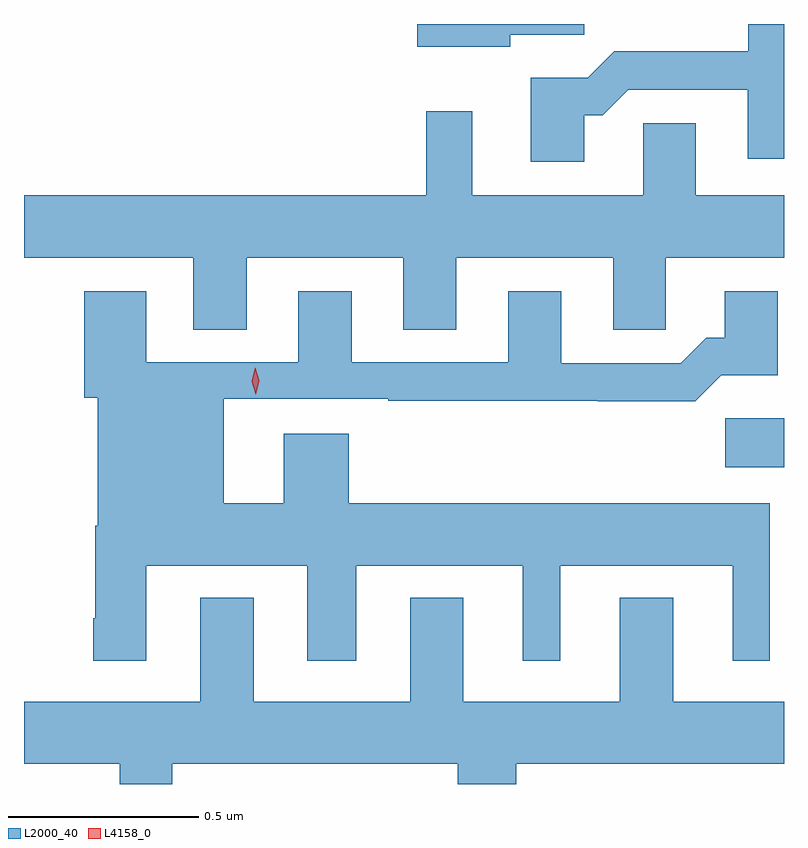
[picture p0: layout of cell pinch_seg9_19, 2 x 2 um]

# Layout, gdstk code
import gdstk
lib = gdstk.Library(unit=1e-6, precision=1e-09)
def R(c, l, rs):  # rectangles x0, y0, x1, y1
    for r in rs: c.add(gdstk.rectangle(r[:2], r[2:], *l))
def P(c, l, *ps):  # polygons
    for p in ps: c.add(gdstk.Polygon(p, *l))
L2000_40 = (2000, 40)
L4158_0 = (4158, 0)

pinch_seg9_19 = lib.new_cell('pinch_seg9_19')
R(pinch_seg9_19, L2000_40, [(1108.554,1213.184,1108.709,1213.313)])
P(pinch_seg9_19, L2000_40, [(1108.183,1214.111),(1108.232,1214.111),(1108.299,1214.178),(1108.613,1214.178),(1108.613,1213.997),(1108.709,1213.997),(1108.709,1214.351),(1108.615,1214.351),(1108.615,1214.279),(1108.262,1214.279),(1108.192,1214.209),(1108.043,1214.209),(1108.043,1213.989),(1108.183,1213.989)],
  [(1107.988,1214.323),(1108.183,1214.323),(1108.183,1214.351),(1107.744,1214.351),(1107.744,1214.291),(1107.988,1214.291)],
  [(1107.295,1213.736),(1107.707,1213.736),(1107.707,1213.546),(1107.847,1213.546),(1107.847,1213.736),(1108.259,1213.736),(1108.259,1213.546),(1108.398,1213.546),(1108.398,1213.736),(1108.709,1213.736),(1108.709,1213.9),(1108.477,1213.9),(1108.477,1214.09),(1108.338,1214.09),(1108.338,1213.9),(1107.889,1213.9),(1107.889,1214.122),(1107.768,1214.122),(1107.768,1213.9),(1106.709,1213.9),(1106.709,1213.736),(1107.155,1213.736),(1107.155,1213.546),(1107.295,1213.546)],
  [(1107.031,1212.926),(1107.455,1212.926),(1107.455,1212.675),(1107.583,1212.675),(1107.583,1212.926),(1108.022,1212.926),(1108.022,1212.675),(1108.12,1212.675),(1108.12,1212.926),(1108.574,1212.926),(1108.574,1212.675),(1108.672,1212.675),(1108.672,1213.09),(1107.563,1213.09),(1107.563,1213.273),(1107.392,1213.273),(1107.392,1213.09),(1107.235,1213.09),(1107.235,1213.365),(1107.667,1213.365),(1107.667,1213.36),(1108.219,1213.36),(1108.219,1213.358),(1108.475,1213.358),(1108.544,1213.427),(1108.693,1213.427),(1108.693,1213.648),(1108.553,1213.648),(1108.553,1213.525),(1108.504,1213.525),(1108.437,1213.458),(1108.123,1213.458),(1108.123,1213.648),(1107.983,1213.648),(1107.983,1213.461),(1107.571,1213.461),(1107.571,1213.648),(1107.431,1213.648),(1107.431,1213.461),(1107.031,1213.461),(1107.031,1213.648),(1106.867,1213.648),(1106.867,1213.368),(1106.903,1213.368),(1106.903,1213.03),(1106.896,1213.03),(1106.896,1212.787),(1106.891,1212.787),(1106.891,1212.675),(1107.031,1212.675)],
  [(1107.099,1212.404),(1107.851,1212.404),(1107.851,1212.351),(1108.004,1212.351),(1108.004,1212.404),(1108.709,1212.404),(1108.709,1212.568),(1108.417,1212.568),(1108.417,1212.841),(1108.277,1212.841),(1108.277,1212.568),(1107.865,1212.568),(1107.865,1212.841),(1107.725,1212.841),(1107.725,1212.568),(1107.313,1212.568),(1107.313,1212.841),(1107.173,1212.841),(1107.173,1212.568),(1106.709,1212.568),(1106.709,1212.404),(1106.961,1212.404),(1106.961,1212.351),(1107.099,1212.351)])
P(pinch_seg9_19, L4158_0, [(1107.319,1213.376),(1107.319,1213.377),(1107.308,1213.411),(1107.317,1213.446),(1107.317,1213.447),(1107.317,1213.446),(1107.328,1213.412),(1107.319,1213.377)])

lib.write_gds('pinch_seg9_19.gds')
